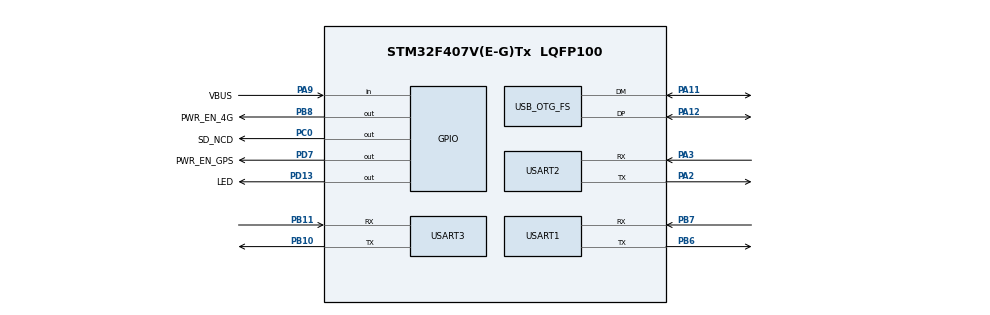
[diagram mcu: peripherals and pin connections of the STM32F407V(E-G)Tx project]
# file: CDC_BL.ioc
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FATFS._FS_TINY=1
FATFS._MULTI_PARTITION=0
FATFS._USE_LABEL=1
Mcu.Family=STM32F4
Mcu.Name=STM32F407V(E-G)Tx
Mcu.Package=LQFP100
NVIC.OTG_FS_IRQn=true\:0\:0\:false\:false\:true\:false\:true
NVIC.PriorityGroup=NVIC_PRIORITYGROUP_4
NVIC.USART1_IRQn=true\:0\:0\:false\:false\:true\:true\:true
NVIC.USART2_IRQn=true\:0\:0\:false\:false\:true\:true\:true
NVIC.USART3_IRQn=true\:0\:0\:false\:false\:true\:true\:true
PA11.Mode=Device_Only
PA11.Signal=USB_OTG_FS_DM
PA12.Mode=Device_Only
PA12.Signal=USB_OTG_FS_DP
PA13.Mode=Serial_Wire
PA13.Signal=SYS_JTMS-SWDIO
PA14.Mode=Serial_Wire
PA14.Signal=SYS_JTCK-SWCLK
PA2.Mode=Asynchronous
PA2.Signal=USART2_TX
PA3.Mode=Asynchronous
PA3.Signal=USART2_RX
PA9.GPIO_Label=VBUS
PA9.GPIO_PuPd=GPIO_PULLDOWN
PA9.Signal=GPIO_Input
PB10.Mode=Asynchronous
PB10.Signal=USART3_TX
PB11.Mode=Asynchronous
PB11.Signal=USART3_RX
PB6.Mode=Asynchronous
PB6.Signal=USART1_TX
PB7.Mode=Asynchronous
PB7.Signal=USART1_RX
PB8.GPIO_Label=PWR_EN_4G
PB8.GPIO_PuPd=GPIO_PULLUP
PB8.GPIO_Speed=GPIO_SPEED_FREQ_HIGH
PB8.PinState=GPIO_PIN_SET
PB8.Signal=GPIO_Output
PC0.GPIO_Label=SD_NCD
PC0.GPIO_PuPd=GPIO_PULLUP
PC0.GPIO_Speed=GPIO_SPEED_FREQ_HIGH
PC0.PinState=GPIO_PIN_SET
PC0.Signal=GPIO_Output
PC10.Signal=SDIO_D2
PC11.Signal=SDIO_D3
PC12.Signal=SDIO_CK
PC8.Signal=SDIO_D0
PC9.Signal=SDIO_D1
PD13.GPIO_Label=LED
PD13.GPIO_ModeDefaultOutputPP=GPIO_MODE_OUTPUT_PP
PD13.GPIO_PuPd=GPIO_PULLUP
PD13.GPIO_Speed=GPIO_SPEED_FREQ_HIGH
PD13.PinState=GPIO_PIN_SET
PD13.Signal=GPIO_Output
PD2.Signal=SDIO_CMD
PD7.GPIO_Label=PWR_EN_GPS
PD7.GPIO_PuPd=GPIO_PULLUP
PD7.GPIO_Speed=GPIO_SPEED_FREQ_HIGH
PD7.PinState=GPIO_PIN_SET
PD7.Signal=GPIO_Output
PH0-OSC_IN.Mode=HSE-External-Oscillator
PH0-OSC_IN.Signal=RCC_OSC_IN
PH1-OSC_OUT.Mode=HSE-External-Oscillator
PH1-OSC_OUT.Signal=RCC_OSC_OUT
ProjectManager.HeapSize=0x2000
ProjectManager.StackSize=0x4000
ProjectManager.TargetToolchain=STM32CubeIDE
RCC.48MHZClocksFreq_Value=48000000
RCC.AHBCLKDivider=RCC_SYSCLK_DIV2
RCC.AHBFreq_Value=48000000
RCC.APB1CLKDivider=RCC_HCLK_DIV2
RCC.APB1Freq_Value=24000000
RCC.APB1TimFreq_Value=48000000
RCC.APB2CLKDivider=RCC_HCLK_DIV2
RCC.APB2Freq_Value=24000000
RCC.APB2TimFreq_Value=48000000
RCC.CortexFreq_Value=48000000
RCC.HCLKFreq_Value=48000000
RCC.HSE_VALUE=16000000
RCC.HSI_VALUE=16000000
RCC.LSE_VALUE=32768
RCC.SYSCLKFreq_VALUE=96000000
RCC.SYSCLKSource=RCC_SYSCLKSOURCE_PLLCLK
RCC.VCOOutputFreq_Value=192000000
USART1.VirtualMode=VM_ASYNC
USART2.VirtualMode=VM_ASYNC
USART3.VirtualMode=VM_ASYNC
USB_DEVICE.CLASS_NAME_FS=CDC
USB_DEVICE.VirtualMode-CDC_FS=Cdc
USB_DEVICE.VirtualModeFS=Cdc_FS
USB_OTG_FS.VirtualMode=Device_Only
VP_FATFS_VS_Generic.Mode=User_defined
VP_USB_DEVICE_VS_USB_DEVICE_CDC_FS.Mode=CDC_FS
board=custom

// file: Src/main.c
/* USER CODE BEGIN Header */
/**
  ******************************************************************************
  * @file           : main.c
  * @brief          : Main program body
  ******************************************************************************
  * @attention
  *
  * <h2><center>&copy; Copyright (c) 2020 STMicroelectronics.
  * All rights reserved.</center></h2>
  *
  * This software component is licensed by ST under Ultimate Liberty license
  * SLA0044, the "License"; You may not use this file except in compliance with
  * the License. You may obtain a copy of the License at:
  *                             www.st.com/SLA0044
  *
  ******************************************************************************
  */
/* USER CODE END Header */

#include "main.h"
#include "fatfs.h"
#include "usart.h"
#include "usb_device.h"
#include "gpio.h"

/* USER CODE BEGIN Includes */
//#include "usbd_cdc.h"
#include "fatfs.h"
#include "ff.h"
#include "sha1/sha1.h"
#include "Periphs/uart.h"
#include "Periphs/Flash.h"
#include "Periphs/crc.h"
#include "Periphs/ParamTable.h"
#include "version.h"
#include "GB/ZKHY/ZKHY_Dev_upload.h"
#include "core_cm4.h"
#include "Ini/Ini.h"
#include "Ini/Files.h"
#include "tea/tea.h"
#include "driver/ec20.h"

/* USER CODE END Includes */

void SystemClock_Config(void);
/* USER CODE BEGIN PFP */
extern USBD_StatusTypeDef USBD_DeInit(USBD_HandleTypeDef *pdev);
/* USER CODE END PFP */

/* USER CODE BEGIN 0 */
//static const char fw_name[] = "FW";
//static const char fw_key_name[] = "Name";
//static const char fw_key_total[] = "total";
//static const char fw_key_crc[] = "CRC";
//static const char fw_key_sha1[] = "SHA1";
//static const char fw_key_time[] = "Time";
extern uint8_t CDC_Transmit_FS(uint8_t* Buf, uint16_t Len);
//unsigned char cdc_rx_buffer[1024];
//int cdc_rx_flag = 0;
extern int rx_buf_get(void);
extern void fs_test(void);
extern void fs_test_sdio(void);

void bl_entry(void);

//uint8_t SD_GetCardInfo(HAL_SD_CardInfoTypeDef *cardinfo)
//{
//    uint8_t sta;
//    sta=HAL_SD_GetCardInfo(&hsd,cardinfo);
//    return sta;
//}

//static uint8_t _ccm __attribute__ ((aligned (4))) bl_data[1024*4];
//extern void HAL_SD_MspDeInit(SD_HandleTypeDef* sdHandle);
extern void boot_app(void);

extern int check_bl(uint8_t _buf[], const uint16_t _bsize, int (*const read_func)(uint8_t buf[], const uint32_t _size));
extern void msc_upload(void);

// 对芯片签名, 签名长度 32B
extern uint8_t read_uid(uint8_t uid[]);
//static uint8_t send_buf[256];
extern uint32_t sign_flag;
extern void first_sign_chip(void);
static const char Param_name[] = "Param";
static const char Param_key_sn[] = "SN";
//static const char Param_key_host[] = "Host";
//static const char Param_key_port[] = "Port";
static const char Param_key_ftph[] = "FTPH";
static const char Param_key_ftpp[] = "FTPP";
static const char Param_key_user[] = "user";
static const char Param_key_passwd[] = "pass";
//static const char Param_key_time[] = "Time";
extern void verify_chip(void);

/* USER CODE END 0 */

int main(void)
{
	/* USER CODE BEGIN 1 */
	//static uint8_t send_buf[256];
	//int len=0;
	//int bl_len;
	//uint32_t crc;
	uint32_t addr = (uint32_t)&first_sign_chip;
	addr = addr-(addr&0x03);  // 对齐
	//SCB->VTOR = 0x08010000UL ;
	//HAL_SD_CardInfoTypeDef cardinfo;
	//    int ret = 0;
	//    uint32_t data[3]={0x123456AB, 0x12CD4568, 0x1256EF34};
	//int ch=-1;
	led_tick = 0;
	/* USER CODE END 1 */

	/* MCU Configuration--------------------------------------------------------*/

	/* Reset of all peripherals, Initializes the Flash interface and the Systick. */
	HAL_Init();

	/* Configure the system clock */
	SystemClock_Config();

	/* USER CODE BEGIN SysInit */
	uartx_queue_init();
	//USART3_Init(115200);
	//jump_to_app();
	//boot_app();
	// 芯片加密校验
#if 0 // 调试时关闭这部分功能
	if(0x00000000!=(*(const uint32_t*)addr)) first_sign_chip();
	verify_chip();
#endif
	/* USER CODE END SysInit */

	/* Initialize all configured peripherals */
	MX_GPIO_Init();
	MX_USB_DEVICE_Init();
	MX_USART1_UART_Init();
	MX_USART2_UART_Init();
	MX_USART3_UART_Init();
	MX_FATFS_Init();
	/* USER CODE BEGIN 2 */
	led_tick = 100;
	USART1_Init(115200);
	USART2_Init(115200);
	USART3_Init(115200);
	EC20_Test();
	//EC20_FTP_Test();
	// 未质检设备不连 FTP升级,即生产中的设备不升级
	if(1==ParamTable_quality())
	{
		int port;
		char param_buf[512];
		char sn[32];
		char ftp[32];
		char user[32];
		char passwd[32];
	    struct Ini_Parse Ini = {
	        "fw.Ini",
	        .text = param_buf,
	         ._bsize = sizeof(param_buf),
	         .pos = 0,
	         ._dsize = 0,
	    };
	    ParamTable_Read(param_buf, 0, sizeof(param_buf));
	    Ini._dsize = strlen(Ini.text);
	    // 解析参数
	    memset(sn, 0, sizeof(sn));
	    Ini_get_field(&Ini, Param_name, Param_key_sn, "-", sn);
	    Ini_get_field(&Ini, Param_name, Param_key_ftph, "39.108.51.99", ftp);
	    Ini_get_field(&Ini, Param_name, Param_key_user, "obd4g", user);
	    Ini_get_field(&Ini, Param_name, Param_key_passwd, "obd.4g", passwd);
	    port = Ini_get_int(&Ini, Param_name, Param_key_ftpp, 21);
		//EC20_FTP_Upload(Emb_Version.hardware, "0A0CK90N4123", "39.108.51.99", 21, "obd4g", "obd.4g");
	    // 序列号必须有效
	    if('-'!=sn[0]) EC20_FTP_Upload(Emb_Version.hardware, sn, "39.108.51.99", port, user, passwd);
	}
	led_tick = 100;
	/* USER CODE END 2 */

	/* Infinite loop */
	while (1)
	{

	}
}

void SystemClock_Config(void)
{
  LL_FLASH_SetLatency(LL_FLASH_LATENCY_1);

  if(LL_FLASH_GetLatency() != LL_FLASH_LATENCY_1)
  {
  Error_Handler();
  }
  LL_PWR_SetRegulVoltageScaling(LL_PWR_REGU_VOLTAGE_SCALE1);
  LL_RCC_HSE_Enable();

   /* Wait till HSE is ready */
  while(LL_RCC_HSE_IsReady() != 1)
  {

  }
  LL_RCC_PLL_ConfigDomain_SYS(LL_RCC_PLLSOURCE_HSE, LL_RCC_PLLM_DIV_16, 192, LL_RCC_PLLP_DIV_2);
  LL_RCC_PLL_ConfigDomain_48M(LL_RCC_PLLSOURCE_HSE, LL_RCC_PLLM_DIV_16, 192, LL_RCC_PLLQ_DIV_4);
  LL_RCC_PLL_Enable();

   /* Wait till PLL is ready */
  while(LL_RCC_PLL_IsReady() != 1)
  {

  }
  LL_RCC_SetAHBPrescaler(LL_RCC_SYSCLK_DIV_2);
  LL_RCC_SetAPB1Prescaler(LL_RCC_APB1_DIV_2);
  LL_RCC_SetAPB2Prescaler(LL_RCC_APB2_DIV_2);
  LL_RCC_SetSysClkSource(LL_RCC_SYS_CLKSOURCE_PLL);

   /* Wait till System clock is ready */
  while(LL_RCC_GetSysClkSource() != LL_RCC_SYS_CLKSOURCE_STATUS_PLL)
  {

  }
  LL_SetSystemCoreClock(48000000);

   /* Update the time base */
  if (HAL_InitTick (TICK_INT_PRIORITY) != HAL_OK)
  {
    Error_Handler();
  };
}

void Error_Handler(void)
{
}

/************************ (C) COPYRIGHT STMicroelectronics *****END OF FILE****/
